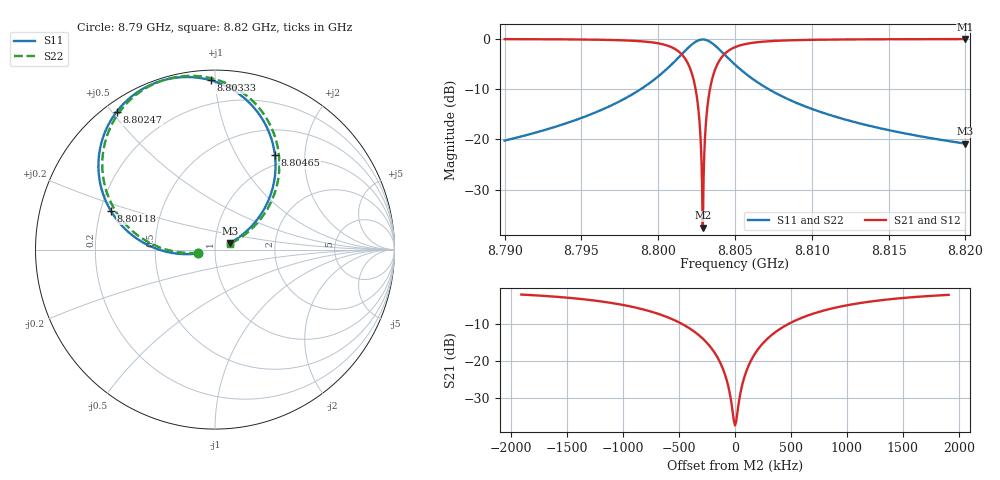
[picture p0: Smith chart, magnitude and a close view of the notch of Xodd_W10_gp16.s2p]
! Sonnet Data File
! From: emgraph Version : 16.52
! From Project: Qubit_Xmon2
! Data is De-embedded
! Data File Written: 10/18/2017 10:22:27
!< HDATE 10/18/2017 09:13:04
!< MDATE 10/18/2017 09:13:04
!< PARAMS
!< Lj = 11.0
!< Gap = 16.0
!< Pwid = 2000.0
!< Airgap = 6.0
!< Width = 10.0
!< END PARAMS
# GHZ S MA R 34.60000
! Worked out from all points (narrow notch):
!   3001 points, 8.79 GHz to 8.82 GHz, reference 34.6 ohm
!   highest |S21| = -0.04 dB at 8.82 GHz (marker M1); lowest = -37.6 dB at 8.8029 GHz (marker M2)
!   notch at M2: 37.4 dB deep, 320 kHz wide at half that depth
!   lowest |S11| = -20.9 dB at 8.82 GHz (marker M3), VSWR 1.20, Z = 40.7 + j2.98 ohm
!   |S11| at or under -10 dB: start of sweep to 8.798868 GHz; 8.807181 GHz to end of sweep
!   |S22| runs from -20.9 to -0.1 dB; largest |S21 - S12| = 0
!   S11 on the Smith chart (normalised r, x): 8.79 GHz: 0.83, -0.04; 8.80118 GHz: 0.24, +0.17; 8.80247 GHz: 0.04, +0.51; 8.80333 GHz: 0.06, +0.97; 8.80465 GHz: 0.85, +1.46; 8.82 GHz: 1.18, +0.09
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8.79  0.09704 -167.1  0.9951 -78.3  0.9951 -78.3  0.09704 -169.6
!< P1 F=8.79 Eeff=(5.1373841 -5.7056e-5) Z0=(34.640405 -9.7526e-5) R=0.0 C=0.0
!< P2 F=8.79 Eeff=(5.1373841 -5.7056e-5) Z0=(34.640405 -9.7526e-5) R=0.0 C=0.0
8.795  0.1632 -171.0  0.9862 -82.2  0.9862 -82.2  0.1632 -173.6
8.79796  0.261 -176.9  0.9643 -87.9  0.9643 -87.9  0.261 -179.4
8.8  0.4228 173.1  0.9035 -97.8  0.9035 -97.8  0.4228 170.5
8.80118  0.6194 159.6  0.7784 -111.1  0.7784 -111.1  0.6194 157.0
8.80198  0.8236 141.9  0.5507 -128.3  0.5507 -128.3  0.8236 139.3
8.80226  0.8971 133.1  0.4166 -136.6  0.4166 -136.6  0.8971 130.5
8.80247  0.9432 125.6  0.2942 -143.3  0.2942 -143.3  0.9432 123.0
8.80266  0.9726 118.2  0.1696 -148.7  0.1696 -148.7  0.9726 115.6
8.80281  0.9848 112.2  0.06577 -147.6  0.06577 -147.6  0.9847 109.5
8.8029  0.9868 108.5  0.01318 -74.8  0.01318 -74.8  0.9868 105.9
8.80299  0.9848 104.8  0.06477 1.8  0.06477 1.8  0.9848 102.2
8.80314  0.9729 98.8  0.1682 3.1  0.1682 3.1  0.9729 96.2
8.80333  0.944 91.5  0.2917 -2.3  0.2917 -2.3  0.944 88.9
8.80355  0.8966 83.8  0.4182 -9.2  0.4182 -9.2  0.8966 81.1
8.80383  0.8248 75.1  0.5494 -17.3  0.5494 -17.3  0.8248 72.5
8.80465  0.6226 57.6  0.776 -34.4  0.776 -34.4  0.6226 54.9
8.805  0.5545 52.6  0.8274 -39.2  0.8274 -39.2  0.5545 50.0
8.80682  0.3412 38.7  0.9384 -52.9  0.9384 -52.9  0.3412 36.0
8.81  0.2009 30.2  0.9791 -61.3  0.9791 -61.3  0.2009 27.5
8.815  0.1235 25.6  0.9922 -65.8  0.9922 -65.8  0.1235 22.9
8.82  0.09058 23.6  0.9958 -67.8  0.9958 -67.8  0.09058 20.9
